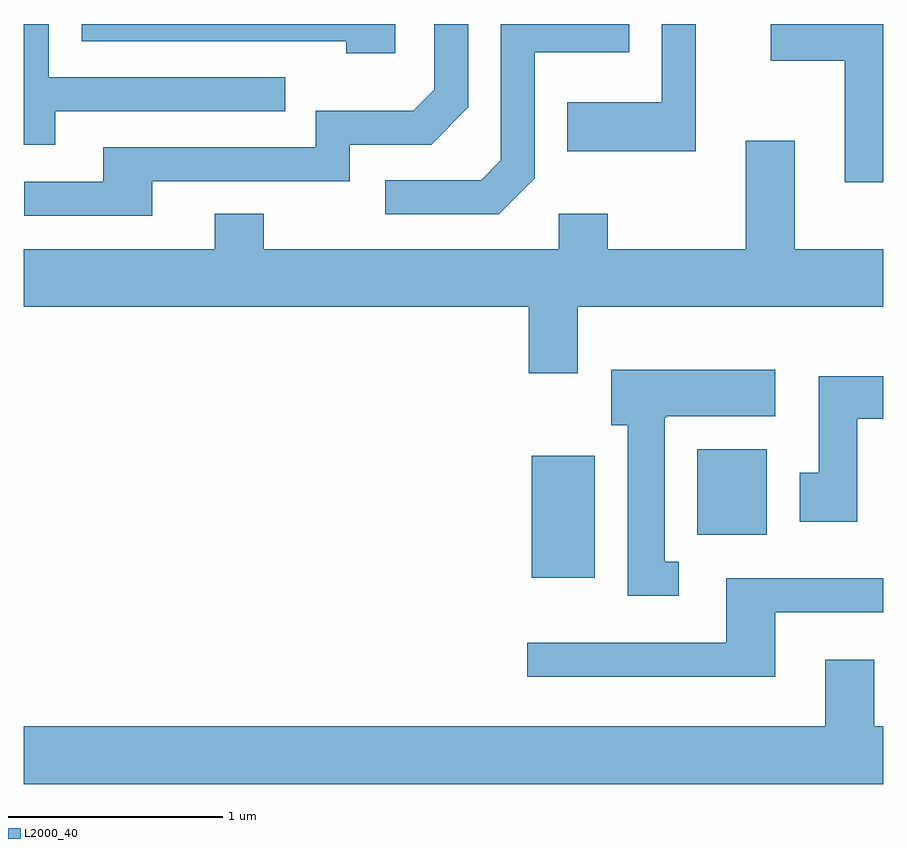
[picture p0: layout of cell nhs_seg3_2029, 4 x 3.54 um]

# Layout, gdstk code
import gdstk
lib = gdstk.Library(unit=1e-6, precision=1e-09)
def R(c, l, rs):  # rectangles x0, y0, x1, y1
    for r in rs: c.add(gdstk.rectangle(r[:2], r[2:], *l))
def P(c, l, *ps):  # polygons
    for p in ps: c.add(gdstk.Polygon(p, *l))
L2000_40 = (2000, 40)

nhs_seg3_2029 = lib.new_cell('nhs_seg3_2029')
R(nhs_seg3_2029, L2000_40, [(245.976,1231.316,246.269,1231.884), (246.746,1231.516,247.069,1231.914)])
P(nhs_seg3_2029, L2000_40, [(245.339,1233.892),(243.881,1233.892),(243.881,1233.811),(245.111,1233.811),(245.111,1233.756),(245.339,1233.756)],
  [(247.611,1233.892),(247.086,1233.892),(247.086,1233.721),(247.431,1233.721),(247.431,1233.156),(247.611,1233.156)],
  [(243.759,1233.486),(244.828,1233.486),(244.828,1233.644),(243.729,1233.644),(243.729,1233.892),(243.611,1233.892),(243.611,1233.331),(243.759,1233.331)],
  [(246.739,1233.892),(246.581,1233.892),(246.581,1233.529),(246.141,1233.529),(246.141,1233.301),(246.739,1233.301)],
  [(245.989,1233.174),(245.989,1233.761),(246.429,1233.761),(246.429,1233.892),(245.831,1233.892),(245.831,1233.257),(245.739,1233.164),(245.293,1233.164),(245.293,1233.006),(245.822,1233.006)],
  [(244.209,1233.161),(245.129,1233.161),(245.129,1233.331),(245.507,1233.331),(245.679,1233.504),(245.679,1233.892),(245.521,1233.892),(245.521,1233.587),(245.424,1233.489),(244.971,1233.489),(244.971,1233.319),(243.981,1233.319),(243.981,1233.159),(243.613,1233.159),(243.613,1233.001),(244.209,1233.001)],
  [(246.189,1232.576),(247.611,1232.576),(247.611,1232.844),(247.199,1232.844),(247.199,1233.349),(246.971,1233.349),(246.971,1232.844),(246.329,1232.844),(246.329,1233.009),(246.101,1233.009),(246.101,1232.844),(244.729,1232.844),(244.729,1233.009),(244.501,1233.009),(244.501,1232.844),(243.611,1232.844),(243.611,1232.576),(245.961,1232.576),(245.961,1232.266),(246.189,1232.266)],
  [(246.658,1231.389),(246.594,1231.389),(246.594,1232.06),(246.6,1232.06),(246.6,1232.066),(247.109,1232.066),(247.109,1232.284),(246.346,1232.284),(246.346,1232.026),(246.421,1232.026),(246.421,1231.231),(246.658,1231.231)],
  [(247.489,1232.056),(247.611,1232.056),(247.611,1232.254),(247.311,1232.254),(247.311,1231.804),(247.221,1231.804),(247.221,1231.576),(247.489,1231.576)],
  [(247.109,1231.156),(247.611,1231.156),(247.611,1231.314),(246.881,1231.314),(246.881,1231.014),(245.953,1231.014),(245.953,1230.856),(247.109,1230.856)],
  [(247.611,1230.624),(247.569,1230.624),(247.569,1230.934),(247.341,1230.934),(247.341,1230.624),(243.611,1230.624),(243.611,1230.356),(247.611,1230.356)])

lib.write_gds('nhs_seg3_2029.gds')
